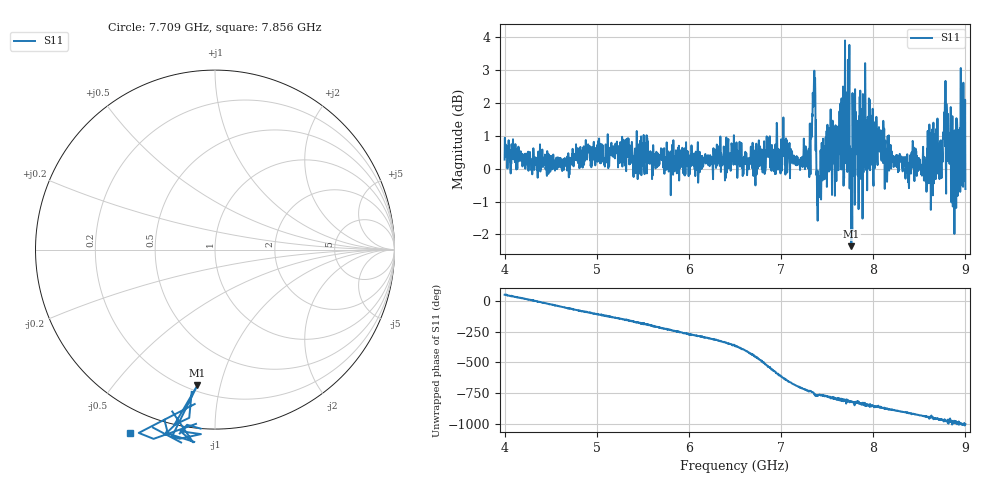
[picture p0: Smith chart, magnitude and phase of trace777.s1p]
! Created with skrf 1.8.0 (http://scikit-rf.org).
# Hz S RI R 50.0
!freq ReS11 ImS11
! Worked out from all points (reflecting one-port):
!   1601 points, 4 GHz to 9 GHz, reference 50 ohm
!   lowest |S11| = -2.4 dB at 7.762 GHz (marker M1), VSWR 7.42, Z = 11.8 - j42.5 ohm
!   phase of S11 starts at 49 deg and turns -1050 deg over the sweep
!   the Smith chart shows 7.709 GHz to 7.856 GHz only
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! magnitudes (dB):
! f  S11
! 4 GHz  0.3
! 4.625 GHz  -0.1
! 5.25 GHz  0.2
! 5.875 GHz  0.1
! 6.5 GHz  0.2
! 7.125 GHz  0.3
! 7.294 GHz  0.0
! 7.316 GHz  0.6
! 7.347 GHz  2.0
! 7.362 GHz  3.0
! 7.397 GHz  -1.6
! 7.409 GHz  -0.5
! 7.481 GHz  0.0
! 7.606 GHz  0.2
! 7.65 GHz  1.7
! 7.697 GHz  0.2
! 7.716 GHz  0.4
! 7.75 GHz  0.3
! 7.762 GHz  -2.4
! 7.769 GHz  -0.5
! 7.8 GHz  -1.1
! 7.938 GHz  1.1
! 8.375 GHz  0.1
! 8.728 GHz  0.2
! 8.788 GHz  0.1
! 8.875 GHz  1.0
! 8.972 GHz  0.0
! 9 GHz  -0.6
